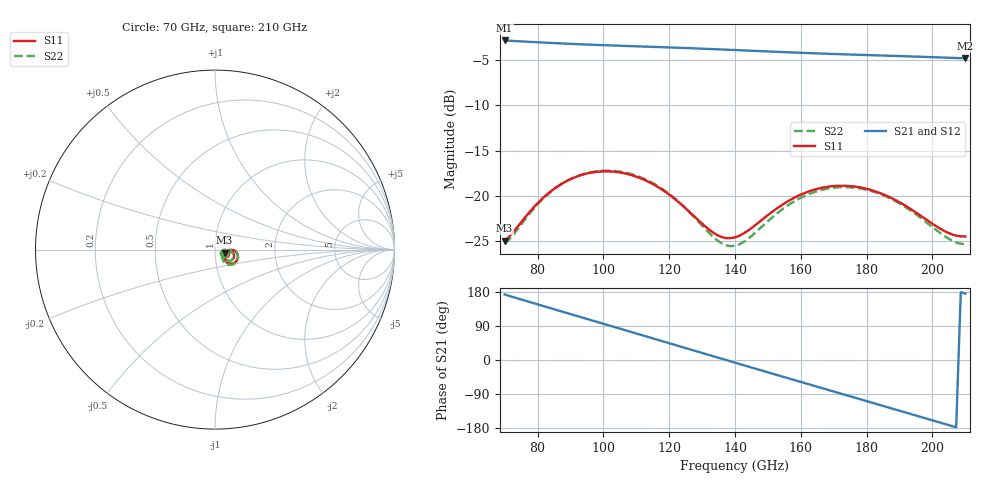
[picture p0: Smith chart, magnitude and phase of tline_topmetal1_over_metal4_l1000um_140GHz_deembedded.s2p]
! Created with skrf 2.2.0 (http://scikit-rf.org).
# GHz S DB R 50.0
! Port[1] = P1
! Port[2] = P2
!freq dBS11 angS11 dBS21 angS21 dBS12 angS12 dBS22 angS22
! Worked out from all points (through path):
!   101 points, 70 GHz to 210 GHz, reference 50 ohm
!   highest |S21| = -2.85 dB at 70 GHz (marker M1); lowest = -4.8 dB at 210 GHz (marker M2)
!   group delay of S21, straight-line fit = 7.09 ps
!   lowest |S11| = -25.0 dB at 70 GHz (marker M3), VSWR 1.12, Z = 55.6 - j2 ohm
!   |S11| at or under -10 dB: start of sweep to end of sweep
!   |S22| runs from -25.5 to -17.2 dB; largest |S21 - S12| = 7.8e-14
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70  -24.96 -18.5  -2.85 172.8  -2.85 172.8  -25.27 -20.7
75.6  -22.66 -3.0  -2.96 158.3  -2.96 158.3  -22.88 -4.1
81.2  -20.38 -0.9  -3.07 143.8  -3.07 143.8  -20.48 -1.9
88.2  -18.49 -6.5  -3.20 125.8  -3.20 125.8  -18.50 -7.7
93.8  -17.65 -13.6  -3.28 111.5  -3.28 111.5  -17.61 -15.2
99.4  -17.30 -21.5  -3.36 97.2  -3.36 97.2  -17.24 -23.5
105  -17.41 -29.6  -3.43 82.8  -3.43 82.8  -17.32 -32.1
110.6  -17.96 -37.2  -3.50 68.5  -3.50 68.5  -17.85 -40.3
117.6  -19.25 -44.9  -3.59 50.5  -3.59 50.5  -19.16 -49.0
128.8  -22.66 -46.0  -3.74 21.7  -3.74 21.7  -22.81 -52.5
135.8  -24.53 -32.5  -3.84 3.7  -3.84 3.7  -25.20 -39.2
140  -24.58 -20.8  -3.91 -7.0  -3.91 -7.0  -25.51 -25.5
151.2  -21.79 -5.9  -4.08 -35.6  -4.08 -35.6  -22.40 -6.5
158.2  -20.17 -8.6  -4.19 -53.4  -4.19 -53.4  -20.56 -9.2
163.8  -19.35 -13.8  -4.26 -67.5  -4.26 -67.5  -19.62 -14.7
169.4  -18.94 -20.2  -4.33 -81.7  -4.33 -81.7  -19.13 -21.6
175  -18.92 -26.9  -4.40 -95.9  -4.40 -95.9  -19.05 -28.8
180.6  -19.28 -33.4  -4.47 -110.1  -4.47 -110.1  -19.38 -35.9
187.6  -20.25 -39.9  -4.55 -127.8  -4.55 -127.8  -20.35 -43.3
198.8  -22.79 -41.5  -4.68 -156.3  -4.68 -156.3  -23.10 -46.7
205.8  -24.23 -32.8  -4.77 -174.0  -4.77 -174.0  -24.90 -38.1
210  -24.48 -24.7  -4.82 175.3  -4.82 175.3  -25.35 -28.8
